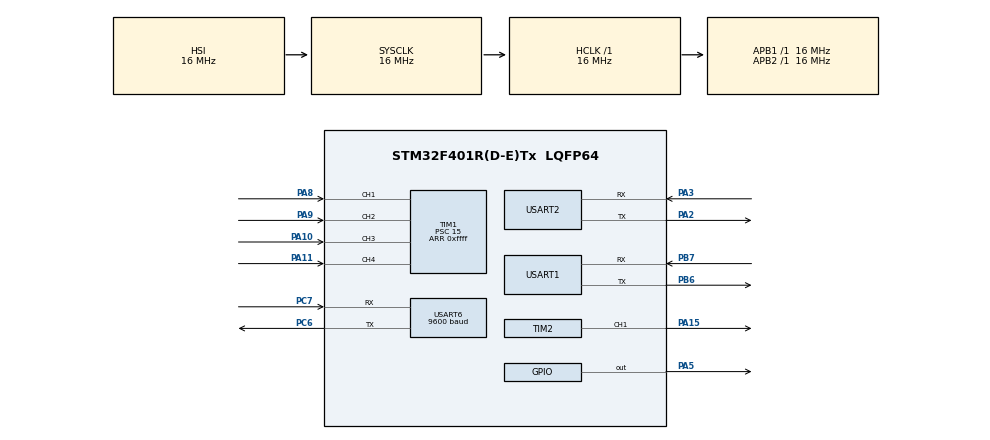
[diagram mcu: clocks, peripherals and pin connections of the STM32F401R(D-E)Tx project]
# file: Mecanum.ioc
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Dma.Request0=USART1_TX
Dma.Request1=USART1_RX
Dma.Request2=USART2_RX
Dma.Request3=USART2_TX
Dma.USART1_RX.1.Direction=DMA_PERIPH_TO_MEMORY
Dma.USART1_RX.1.FIFOMode=DMA_FIFOMODE_DISABLE
Dma.USART1_RX.1.Instance=DMA2_Stream2
Dma.USART1_RX.1.MemDataAlignment=DMA_MDATAALIGN_BYTE
Dma.USART1_RX.1.MemInc=DMA_MINC_ENABLE
Dma.USART1_RX.1.Mode=DMA_CIRCULAR
Dma.USART1_RX.1.PeriphDataAlignment=DMA_PDATAALIGN_BYTE
Dma.USART1_RX.1.PeriphInc=DMA_PINC_DISABLE
Dma.USART1_RX.1.Priority=DMA_PRIORITY_LOW
Dma.USART1_TX.0.Direction=DMA_MEMORY_TO_PERIPH
Dma.USART1_TX.0.FIFOMode=DMA_FIFOMODE_DISABLE
Dma.USART1_TX.0.Instance=DMA2_Stream7
Dma.USART1_TX.0.MemDataAlignment=DMA_MDATAALIGN_BYTE
Dma.USART1_TX.0.MemInc=DMA_MINC_ENABLE
Dma.USART1_TX.0.Mode=DMA_NORMAL
Dma.USART1_TX.0.PeriphDataAlignment=DMA_PDATAALIGN_BYTE
Dma.USART1_TX.0.PeriphInc=DMA_PINC_DISABLE
Dma.USART1_TX.0.Priority=DMA_PRIORITY_LOW
Dma.USART2_RX.2.Direction=DMA_PERIPH_TO_MEMORY
Dma.USART2_RX.2.FIFOMode=DMA_FIFOMODE_DISABLE
Dma.USART2_RX.2.Instance=DMA1_Stream5
Dma.USART2_RX.2.MemDataAlignment=DMA_MDATAALIGN_BYTE
Dma.USART2_RX.2.MemInc=DMA_MINC_ENABLE
Dma.USART2_RX.2.Mode=DMA_CIRCULAR
Dma.USART2_RX.2.PeriphDataAlignment=DMA_PDATAALIGN_BYTE
Dma.USART2_RX.2.PeriphInc=DMA_PINC_DISABLE
Dma.USART2_RX.2.Priority=DMA_PRIORITY_LOW
Dma.USART2_TX.3.Direction=DMA_MEMORY_TO_PERIPH
Dma.USART2_TX.3.FIFOMode=DMA_FIFOMODE_DISABLE
Dma.USART2_TX.3.Instance=DMA1_Stream6
Dma.USART2_TX.3.MemDataAlignment=DMA_MDATAALIGN_BYTE
Dma.USART2_TX.3.MemInc=DMA_MINC_ENABLE
Dma.USART2_TX.3.Mode=DMA_NORMAL
Dma.USART2_TX.3.PeriphDataAlignment=DMA_PDATAALIGN_BYTE
Dma.USART2_TX.3.PeriphInc=DMA_PINC_DISABLE
Dma.USART2_TX.3.Priority=DMA_PRIORITY_LOW
FREERTOS.Tasks01=defaultTask,0,128,StartDefaultTask,Default,NULL
Mcu.Family=STM32F4
Mcu.Name=STM32F401R(D-E)Tx
Mcu.Package=LQFP64
NVIC.DMA1_Stream5_IRQn=true\:5\:0\:false\:false\:true\:true
NVIC.DMA1_Stream6_IRQn=true\:5\:0\:false\:false\:true\:true
NVIC.DMA2_Stream2_IRQn=true\:5\:0\:false\:false\:true\:true
NVIC.DMA2_Stream7_IRQn=true\:5\:0\:false\:false\:true\:true
NVIC.PriorityGroup=NVIC_PRIORITYGROUP_4
NVIC.TIM1_CC_IRQn=true\:6\:0\:true\:false\:true\:true
NVIC.TIM2_IRQn=true\:6\:0\:true\:false\:true\:true
NVIC.TIM5_IRQn=true\:0\:0\:false\:false\:true\:false
NVIC.TimeBase=TIM5_IRQn
NVIC.TimeBaseIP=TIM5
NVIC.USART1_IRQn=true\:5\:0\:false\:false\:true\:true
NVIC.USART2_IRQn=true\:5\:0\:false\:false\:true\:true
NVIC.USART6_IRQn=true\:5\:0\:false\:false\:true\:true
PA10.Signal=S_TIM1_CH3
PA11.Signal=S_TIM1_CH4
PA15.Signal=S_TIM2_CH1_ETR
PA2.Mode=Asynchronous
PA2.Signal=USART2_TX
PA3.Mode=Asynchronous
PA3.Signal=USART2_RX
PA5.Signal=GPIO_Output
PA8.Signal=S_TIM1_CH1
PA9.Signal=S_TIM1_CH2
PB6.Mode=Asynchronous
PB6.Signal=USART1_TX
PB7.Mode=Asynchronous
PB7.Signal=USART1_RX
PC6.Mode=Asynchronous
PC6.Signal=USART6_TX
PC7.Mode=Asynchronous
PC7.Signal=USART6_RX
ProjectManager.HeapSize=0x200
ProjectManager.StackSize=0x400
ProjectManager.TargetToolchain=MDK-ARM V5
RCC.AHBFreq_Value=16000000
RCC.APB1Freq_Value=16000000
RCC.APB2Freq_Value=16000000
RCC.CortexFreq_Value=16000000
RCC.HSE_VALUE=25000000
RCC.HSI_VALUE=16000000
RCC.LSE_VALUE=32768
RCC.SYSCLKFreq_VALUE=16000000
RCC.VCOOutputFreq_Value=192000000
SH.S_TIM1_CH1.0=TIM1_CH1,Input_Capture1_from_TI1
SH.S_TIM1_CH2.0=TIM1_CH2,Input_Capture2_from_TI2
SH.S_TIM1_CH3.0=TIM1_CH3,Input_Capture3_from_TI3
SH.S_TIM1_CH4.0=TIM1_CH4,Input_Capture4_from_TI4
SH.S_TIM2_CH1_ETR.0=TIM2_CH1,PWM Generation1 CH1
TIM1.Channel-Input_Capture1_from_TI1=TIM_CHANNEL_1
TIM1.Channel-Input_Capture2_from_TI2=TIM_CHANNEL_2
TIM1.Channel-Input_Capture3_from_TI3=TIM_CHANNEL_3
TIM1.Channel-Input_Capture4_from_TI4=TIM_CHANNEL_4
TIM1.ICPolarity_CH1=TIM_INPUTCHANNELPOLARITY_BOTHEDGE
TIM1.ICPolarity_CH2=TIM_INPUTCHANNELPOLARITY_BOTHEDGE
TIM1.ICPolarity_CH3=TIM_INPUTCHANNELPOLARITY_BOTHEDGE
TIM1.ICPolarity_CH4=TIM_INPUTCHANNELPOLARITY_BOTHEDGE
TIM1.Period=0xffff
TIM1.Prescaler=15
TIM2.Channel-PWM\ Generation1\ CH1=TIM_CHANNEL_1
TIM2.Channel-PWM\ Generation2\ No\ Output=TIM_CHANNEL_2
TIM2.OCFastMode_PWM-PWM\ Generation1\ CH1=TIM_OCFAST_ENABLE
TIM2.Period=99999
TIM2.Prescaler=15
TIM2.Pulse-PWM\ Generation1\ CH1=10
TIM2.Pulse-PWM\ Generation2\ No\ Output=12500
USART1.VirtualMode=VM_ASYNC
USART2.VirtualMode=VM_ASYNC
USART6.BaudRate=9600
USART6.VirtualMode=VM_ASYNC
VP_FREERTOS_VS_ENABLE.Mode=Enabled
VP_SYS_VS_tim5.Mode=TIM5
VP_TIM2_VS_no_output2.Mode=PWM Generation2 No Output
board=Mecanum

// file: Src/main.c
/**
  ******************************************************************************
  * File Name          : main.c
  * Description        : Main program body
  ******************************************************************************
  * This notice applies to any and all portions of this file
  * that are not between comment pairs USER CODE BEGIN and
  * USER CODE END. Other portions of this file, whether
  * inserted by the user or by software development tools
  * are owned by their respective copyright owners.
  *
  * Copyright (c) 2017 STMicroelectronics International N.V.
  * All rights reserved.
  *
  * Redistribution and use in source and binary forms, with or without
  * modification, are permitted, provided that the following conditions are met:
  *
  * 1. Redistribution of source code must retain the above copyright notice,
  *    this list of conditions and the following disclaimer.
  * 2. Redistributions in binary form must reproduce the above copyright notice,
  *    this list of conditions and the following disclaimer in the documentation
  *    and/or other materials provided with the distribution.
  * 3. Neither the name of STMicroelectronics nor the names of other
  *    contributors to this software may be used to endorse or promote products
  *    derived from this software without specific written permission.
  * 4. This software, including modifications and/or derivative works of this
  *    software, must execute solely and exclusively on microcontroller or
  *    microprocessor devices manufactured by or for STMicroelectronics.
  * 5. Redistribution and use of this software other than as permitted under
  *    this license is void and will automatically terminate your rights under
  *    this license.
  *
  * THIS SOFTWARE IS PROVIDED BY STMICROELECTRONICS AND CONTRIBUTORS "AS IS"
  * AND ANY EXPRESS, IMPLIED OR STATUTORY WARRANTIES, INCLUDING, BUT NOT
  * LIMITED TO, THE IMPLIED WARRANTIES OF MERCHANTABILITY, FITNESS FOR A
  * PARTICULAR PURPOSE AND NON-INFRINGEMENT OF THIRD PARTY INTELLECTUAL PROPERTY
  * RIGHTS ARE DISCLAIMED TO THE FULLEST EXTENT PERMITTED BY LAW. IN NO EVENT
  * SHALL STMICROELECTRONICS OR CONTRIBUTORS BE LIABLE FOR ANY DIRECT, INDIRECT,
  * INCIDENTAL, SPECIAL, EXEMPLARY, OR CONSEQUENTIAL DAMAGES (INCLUDING, BUT NOT
  * LIMITED TO, PROCUREMENT OF SUBSTITUTE GOODS OR SERVICES; LOSS OF USE, DATA,
  * OR PROFITS; OR BUSINESS INTERRUPTION) HOWEVER CAUSED AND ON ANY THEORY OF
  * LIABILITY, WHETHER IN CONTRACT, STRICT LIABILITY, OR TORT (INCLUDING
  * NEGLIGENCE OR OTHERWISE) ARISING IN ANY WAY OUT OF THE USE OF THIS SOFTWARE,
  * EVEN IF ADVISED OF THE POSSIBILITY OF SUCH DAMAGE.
  *
  ******************************************************************************
  */
#include "main.h"
#include "stm32f4xx_hal.h"
#include "cmsis_os.h"

/* USER CODE BEGIN Includes */
#include <float.h>
#include "UartPcCommReceiver.h"
#include "UartPcCommTransmitter.h"
#include "motor.h"
#include "Ultrasonic.h"
/* USER CODE END Includes */

TIM_HandleTypeDef htim1;
TIM_HandleTypeDef htim2;

UART_HandleTypeDef huart1;
UART_HandleTypeDef huart2;
UART_HandleTypeDef huart6;
DMA_HandleTypeDef hdma_usart1_tx;
DMA_HandleTypeDef hdma_usart1_rx;
DMA_HandleTypeDef hdma_usart2_rx;
DMA_HandleTypeDef hdma_usart2_tx;

osThreadId defaultTaskHandle;

/* USER CODE BEGIN PV */
osThreadId motorControlHandle;
osThreadId UltrasonicTaskHandle;
osThreadId pcCommRxTaskHandle;
osThreadId pcCommTxTaskHandle;

SemaphoreHandle_t Ultrasonic_ISR_BS;

QueueHandle_t motorQueue;
QueueHandle_t Ultrasonic_Queue[4];
QueueHandle_t UltrasonicToPC;

BaseType_t Ultrasonic_HPTW_Q1 = pdFALSE, Ultrasonic_HPTW_Q2 = pdFALSE;

uint16_t Ultrasonic_flags = 0;
uint8_t Battery_flags = 0;

/* USER CODE END PV */

void SystemClock_Config(void);
static void MX_GPIO_Init(void);
static void MX_DMA_Init(void);
static void MX_USART1_UART_Init(void);
static void MX_USART2_UART_Init(void);
static void MX_USART6_UART_Init(void);
static void MX_TIM1_Init(void);
static void MX_TIM2_Init(void);
void StartDefaultTask(void const * argument);

void HAL_TIM_MspPostInit(TIM_HandleTypeDef *htim);

/* USER CODE BEGIN PFP */
void StartMotorControl(void const * argument);
void UltrasonicTaskFunction(void const * argument);

/* USER CODE END PFP */

int main(void)
{

  /* MCU Configuration----------------------------------------------------------*/

  /* Reset of all peripherals, Initializes the Flash interface and the Systick. */
  HAL_Init();

  /* Configure the system clock */
  SystemClock_Config();

  /* Initialize all configured peripherals */
  MX_GPIO_Init();
  MX_DMA_Init();
  MX_USART1_UART_Init();
  MX_USART2_UART_Init();
  MX_USART6_UART_Init();
  MX_TIM1_Init();
  MX_TIM2_Init();

  /* USER CODE BEGIN RTOS_SEMAPHORES */
  Ultrasonic_ISR_BS = xSemaphoreCreateBinary();
  if(!Ultrasonic_ISR_BS)
      Error_Handler();
  /* USER CODE END RTOS_SEMAPHORES */

  /* Create the thread(s) */
  /* definition and creation of defaultTask */
  osThreadDef(defaultTask, StartDefaultTask, osPriorityNormal, 0, 128);
  defaultTaskHandle = osThreadCreate(osThread(defaultTask), NULL);

  /* USER CODE BEGIN RTOS_THREADS */
  osThreadDef(pcCommRx, UartPcCommReceiverFunc, osPriorityNormal, 0, 128);
  pcCommRxTaskHandle = osThreadCreate(osThread(pcCommRx), NULL);

  osThreadDef(pcCommTx, UartPcCommTransmitterFunc, osPriorityNormal, 0, 2048);
  pcCommTxTaskHandle = osThreadCreate(osThread(pcCommTx), NULL);

  osThreadDef(motorControl, StartMotorControl, osPriorityNormal, 0, 128);
  motorControlHandle = osThreadCreate(osThread(motorControl), NULL);

  osThreadDef(UltrasonicTask, UltrasonicTaskFunction, osPriorityNormal, 0, 128);
  UltrasonicTaskHandle = osThreadCreate(osThread(UltrasonicTask), NULL);

  /* USER CODE END RTOS_THREADS */

  /* USER CODE BEGIN RTOS_QUEUES */
  motorQueue = xQueueCreate( 1, sizeof( FullMotorPackage ) );

  Ultrasonic_Queue[0] = xQueueCreate(2, sizeof( uint32_t ) );
  Ultrasonic_Queue[1] = xQueueCreate(2, sizeof( uint32_t ) );
  Ultrasonic_Queue[2] = xQueueCreate(2, sizeof( uint32_t ) );
  Ultrasonic_Queue[3] = xQueueCreate(2, sizeof( uint32_t ) );
  UltrasonicToPC = xQueueCreate(2, sizeof( struct Ultrasonic_Distances ) );
  /* USER CODE END RTOS_QUEUES */

  /* Start scheduler */
  osKernelStart();

  /* We should never get here as control is now taken by the scheduler */

  /* Infinite loop */
  while (1)
  {

  }

}

/** System Clock Configuration
*/
void SystemClock_Config(void)
{

  RCC_OscInitTypeDef RCC_OscInitStruct;
  RCC_ClkInitTypeDef RCC_ClkInitStruct;

    /**Configure the main internal regulator output voltage
    */
  __HAL_RCC_PWR_CLK_ENABLE();

  __HAL_PWR_VOLTAGESCALING_CONFIG(PWR_REGULATOR_VOLTAGE_SCALE2);

    /**Initializes the CPU, AHB and APB busses clocks
    */
  RCC_OscInitStruct.OscillatorType = RCC_OSCILLATORTYPE_HSI;
  RCC_OscInitStruct.HSIState = RCC_HSI_ON;
  RCC_OscInitStruct.HSICalibrationValue = 16;
  RCC_OscInitStruct.PLL.PLLState = RCC_PLL_NONE;
  if (HAL_RCC_OscConfig(&RCC_OscInitStruct) != HAL_OK)
  {
    _Error_Handler(__FILE__, __LINE__);
  }

    /**Initializes the CPU, AHB and APB busses clocks
    */
  RCC_ClkInitStruct.ClockType = RCC_CLOCKTYPE_HCLK|RCC_CLOCKTYPE_SYSCLK
                              |RCC_CLOCKTYPE_PCLK1|RCC_CLOCKTYPE_PCLK2;
  RCC_ClkInitStruct.SYSCLKSource = RCC_SYSCLKSOURCE_HSI;
  RCC_ClkInitStruct.AHBCLKDivider = RCC_SYSCLK_DIV1;
  RCC_ClkInitStruct.APB1CLKDivider = RCC_HCLK_DIV1;
  RCC_ClkInitStruct.APB2CLKDivider = RCC_HCLK_DIV1;

  if (HAL_RCC_ClockConfig(&RCC_ClkInitStruct, FLASH_LATENCY_0) != HAL_OK)
  {
    _Error_Handler(__FILE__, __LINE__);
  }

    /**Configure the Systick interrupt time
    */
  HAL_SYSTICK_Config(HAL_RCC_GetHCLKFreq()/1000);

    /**Configure the Systick
    */
  HAL_SYSTICK_CLKSourceConfig(SYSTICK_CLKSOURCE_HCLK);

  /* SysTick_IRQn interrupt configuration */
  HAL_NVIC_SetPriority(SysTick_IRQn, 15, 0);
}

/* TIM1 init function */
static void MX_TIM1_Init(void)
{

  TIM_MasterConfigTypeDef sMasterConfig;
  TIM_IC_InitTypeDef sConfigIC;

  htim1.Instance = TIM1;
  htim1.Init.Prescaler = 15;
  htim1.Init.CounterMode = TIM_COUNTERMODE_UP;
  htim1.Init.Period = 0xffff;
  htim1.Init.ClockDivision = TIM_CLOCKDIVISION_DIV1;
  htim1.Init.RepetitionCounter = 0;
  if (HAL_TIM_IC_Init(&htim1) != HAL_OK)
  {
    _Error_Handler(__FILE__, __LINE__);
  }

  sMasterConfig.MasterOutputTrigger = TIM_TRGO_RESET;
  sMasterConfig.MasterSlaveMode = TIM_MASTERSLAVEMODE_DISABLE;
  if (HAL_TIMEx_MasterConfigSynchronization(&htim1, &sMasterConfig) != HAL_OK)
  {
    _Error_Handler(__FILE__, __LINE__);
  }

  sConfigIC.ICPolarity = TIM_INPUTCHANNELPOLARITY_BOTHEDGE;
  sConfigIC.ICSelection = TIM_ICSELECTION_DIRECTTI;
  sConfigIC.ICPrescaler = TIM_ICPSC_DIV1;
  sConfigIC.ICFilter = 0;
  if (HAL_TIM_IC_ConfigChannel(&htim1, &sConfigIC, TIM_CHANNEL_1) != HAL_OK)
  {
    _Error_Handler(__FILE__, __LINE__);
  }

  if (HAL_TIM_IC_ConfigChannel(&htim1, &sConfigIC, TIM_CHANNEL_2) != HAL_OK)
  {
    _Error_Handler(__FILE__, __LINE__);
  }

  if (HAL_TIM_IC_ConfigChannel(&htim1, &sConfigIC, TIM_CHANNEL_3) != HAL_OK)
  {
    _Error_Handler(__FILE__, __LINE__);
  }

  if (HAL_TIM_IC_ConfigChannel(&htim1, &sConfigIC, TIM_CHANNEL_4) != HAL_OK)
  {
    _Error_Handler(__FILE__, __LINE__);
  }

}

/* TIM2 init function */
static void MX_TIM2_Init(void)
{

  TIM_MasterConfigTypeDef sMasterConfig;
  TIM_OC_InitTypeDef sConfigOC;

  htim2.Instance = TIM2;
  htim2.Init.Prescaler = 15;
  htim2.Init.CounterMode = TIM_COUNTERMODE_UP;
  htim2.Init.Period = 99999;
  htim2.Init.ClockDivision = TIM_CLOCKDIVISION_DIV1;
  if (HAL_TIM_PWM_Init(&htim2) != HAL_OK)
  {
    _Error_Handler(__FILE__, __LINE__);
  }

  sMasterConfig.MasterOutputTrigger = TIM_TRGO_RESET;
  sMasterConfig.MasterSlaveMode = TIM_MASTERSLAVEMODE_DISABLE;
  if (HAL_TIMEx_MasterConfigSynchronization(&htim2, &sMasterConfig) != HAL_OK)
  {
    _Error_Handler(__FILE__, __LINE__);
  }

  sConfigOC.OCMode = TIM_OCMODE_PWM1;
  sConfigOC.Pulse = 10;
  sConfigOC.OCPolarity = TIM_OCPOLARITY_HIGH;
  sConfigOC.OCFastMode = TIM_OCFAST_ENABLE;
  if (HAL_TIM_PWM_ConfigChannel(&htim2, &sConfigOC, TIM_CHANNEL_1) != HAL_OK)
  {
    _Error_Handler(__FILE__, __LINE__);
  }

  sConfigOC.Pulse = 12500;
  sConfigOC.OCFastMode = TIM_OCFAST_DISABLE;
  if (HAL_TIM_PWM_ConfigChannel(&htim2, &sConfigOC, TIM_CHANNEL_2) != HAL_OK)
  {
    _Error_Handler(__FILE__, __LINE__);
  }

  HAL_TIM_MspPostInit(&htim2);

}

/* USART1 init function */
static void MX_USART1_UART_Init(void)
{

  huart1.Instance = USART1;
  huart1.Init.BaudRate = 115200;
  huart1.Init.WordLength = UART_WORDLENGTH_8B;
  huart1.Init.StopBits = UART_STOPBITS_1;
  huart1.Init.Parity = UART_PARITY_NONE;
  huart1.Init.Mode = UART_MODE_TX_RX;
  huart1.Init.HwFlowCtl = UART_HWCONTROL_NONE;
  huart1.Init.OverSampling = UART_OVERSAMPLING_16;
  if (HAL_UART_Init(&huart1) != HAL_OK)
  {
    _Error_Handler(__FILE__, __LINE__);
  }

}

/* USART2 init function */
static void MX_USART2_UART_Init(void)
{

  huart2.Instance = USART2;
  huart2.Init.BaudRate = 115200;
  huart2.Init.WordLength = UART_WORDLENGTH_8B;
  huart2.Init.StopBits = UART_STOPBITS_1;
  huart2.Init.Parity = UART_PARITY_NONE;
  huart2.Init.Mode = UART_MODE_TX_RX;
  huart2.Init.HwFlowCtl = UART_HWCONTROL_NONE;
  huart2.Init.OverSampling = UART_OVERSAMPLING_16;
  if (HAL_UART_Init(&huart2) != HAL_OK)
  {
    _Error_Handler(__FILE__, __LINE__);
  }

}

/* USART6 init function */
static void MX_USART6_UART_Init(void)
{

  huart6.Instance = USART6;
  huart6.Init.BaudRate = 9600;
  huart6.Init.WordLength = UART_WORDLENGTH_8B;
  huart6.Init.StopBits = UART_STOPBITS_1;
  huart6.Init.Parity = UART_PARITY_NONE;
  huart6.Init.Mode = UART_MODE_TX_RX;
  huart6.Init.HwFlowCtl = UART_HWCONTROL_NONE;
  huart6.Init.OverSampling = UART_OVERSAMPLING_16;
  if (HAL_UART_Init(&huart6) != HAL_OK)
  {
    _Error_Handler(__FILE__, __LINE__);
  }

}

static void MX_DMA_Init(void)
{
  /* DMA controller clock enable */
  __HAL_RCC_DMA2_CLK_ENABLE();
  __HAL_RCC_DMA1_CLK_ENABLE();

  /* DMA interrupt init */
  /* DMA1_Stream5_IRQn interrupt configuration */
  HAL_NVIC_SetPriority(DMA1_Stream5_IRQn, 5, 0);
  HAL_NVIC_EnableIRQ(DMA1_Stream5_IRQn);
  /* DMA1_Stream6_IRQn interrupt configuration */
  HAL_NVIC_SetPriority(DMA1_Stream6_IRQn, 5, 0);
  HAL_NVIC_EnableIRQ(DMA1_Stream6_IRQn);
  /* DMA2_Stream2_IRQn interrupt configuration */
  HAL_NVIC_SetPriority(DMA2_Stream2_IRQn, 5, 0);
  HAL_NVIC_EnableIRQ(DMA2_Stream2_IRQn);
  /* DMA2_Stream7_IRQn interrupt configuration */
  HAL_NVIC_SetPriority(DMA2_Stream7_IRQn, 5, 0);
  HAL_NVIC_EnableIRQ(DMA2_Stream7_IRQn);

}

/** Configure pins as
        * Analog
        * Input
        * Output
        * EVENT_OUT
        * EXTI
*/
static void MX_GPIO_Init(void)
{

  GPIO_InitTypeDef GPIO_InitStruct;

  /* GPIO Ports Clock Enable */
  __HAL_RCC_GPIOA_CLK_ENABLE();
  __HAL_RCC_GPIOC_CLK_ENABLE();
  __HAL_RCC_GPIOB_CLK_ENABLE();

  /*Configure GPIO pin Output Level */
  HAL_GPIO_WritePin(GPIOA, GPIO_PIN_5, GPIO_PIN_RESET);

  /*Configure GPIO pin : PA5 */
  GPIO_InitStruct.Pin = GPIO_PIN_5;
  GPIO_InitStruct.Mode = GPIO_MODE_OUTPUT_PP;
  GPIO_InitStruct.Pull = GPIO_NOPULL;
  GPIO_InitStruct.Speed = GPIO_SPEED_FREQ_LOW;
  HAL_GPIO_Init(GPIOA, &GPIO_InitStruct);

}

/* USER CODE BEGIN 4 */
void StartMotorControl(void const * argument)
{
  uint8_t buffer[sizeof( FullMotorPackage )];
  FullMotorPackage *fullMotorPackage;
  for(;;)
  {
    xQueueReceive( motorQueue, &( buffer ), portMAX_DELAY );
	fullMotorPackage = (FullMotorPackage*)buffer;
	MoveMotor(FrontLeft, fullMotorPackage->FrontLeft);
	MoveMotor(FrontRight, fullMotorPackage->FrontRight);
    MoveMotor(BackLeft, fullMotorPackage->BackLeft);
	MoveMotor(BackRight, fullMotorPackage->BackRight);
  }
}

void UltrasonicTaskFunction(void const * argument){
	extern uint16_t US_time_acq [4][2];							//For every sensor we get two values, rising edge and falling
	extern float US_distance [4],US_min_dist;				//Array to hold distances in mm and minimum distance
	struct Ultrasonic_Distances US_RxStruct;	//Struct to be sent to the PC, with distances
	uint32_t channel;													//For timer channel selection
	HAL_TIM_IC_Init(&htim1);									//Activates timer 1, to begin acquiring sensor data
	HAL_TIM_PWM_Init(&htim2);									//Activates timer 2, to begin generating pulses
	HAL_TIM_IC_Start_IT(&htim1,TIM_CHANNEL_1);	//Starts interruptions for input capture
	HAL_TIM_IC_Start_IT(&htim1,TIM_CHANNEL_2);	//Starts interruptions for input capture
	HAL_TIM_IC_Start_IT(&htim1,TIM_CHANNEL_3);	//Starts interruptions for input capture
	HAL_TIM_IC_Start_IT(&htim1,TIM_CHANNEL_4);	//Starts interruptions for input capture
	HAL_TIM_PWM_Start_IT(&htim2,TIM_CHANNEL_1);	//Starts generating triggers (10Hz)
	while(1){
		//MX_TIM1_Init();													//Sets timer and all channel input captures to rising edge
		if(xSemaphoreTake(Ultrasonic_ISR_BS,portMAX_DELAY) == pdTRUE){
			osDelay(60);														//Delay of 60ms for making sure signals are received (triggers at 10Hz)
			for (uint8_t i=0; i<4 ; i++){
				channel = i << 2;											//Selects the right timer channel
				if(xQueueReceive(Ultrasonic_Queue[i],&US_time_acq[i][0],0) == pdTRUE){			//Polls queues of rising edge
					if(xQueueReceive(Ultrasonic_Queue[i],&US_time_acq[i][1],0) == pdTRUE){		//Polls queues of falling edge
						Ultrasonic_flags |= (ULTRASONIC_CAPTURE_1 << i);				//Only if both edges are acquired, we set the capture flag
					}
				}
			}																															//After all data acquire, begin treatment
			Ultrasonic_DistCalculations();
			US_RxStruct.Front = US_distance[0];			//Assigns the distance to the right fields of the Struct to be sent to PC
			US_RxStruct.Left = US_distance[1];			//We begin in the front and proceed counter-clockwise
			US_RxStruct.Back = US_distance[2];
			US_RxStruct.Right = US_distance[3];
			if(xQueueSend(UltrasonicToPC,&US_RxStruct,0) != pdTRUE)
				Ultrasonic_flags |= ULTRASONIC_FAILSEND;
			else
				Ultrasonic_flags &= ~ULTRASONIC_FAILSEND;
			Ultrasonic_flags &= ~(ULTRASONIC_CAPTURE_1 | ULTRASONIC_CAPTURE_2 | ULTRASONIC_CAPTURE_3 | ULTRASONIC_CAPTURE_4);
			Ultrasonic_CheckConditions();
		}
	}
}

void HAL_TIM_OC_DelayElapsedCallback(TIM_HandleTypeDef *htim){
	if(htim == &htim2){
		uint32_t trash_buff;
		for(int i = 0; i<4; i++){														//Resets all queues, to indicate acquiring beginning
			while (xQueueIsQueueEmptyFromISR(Ultrasonic_Queue[i]) != pdTRUE){
				xQueueReceiveFromISR(Ultrasonic_Queue[i],&trash_buff,NULL);		//Receives items until queue is empty
			}
		xSemaphoreGiveFromISR(Ultrasonic_ISR_BS,NULL);			//Gives binary semaphore to start treatment by task function
		}
	}
}

void HAL_TIM_IC_CaptureCallback(TIM_HandleTypeDef *htim){
	// - For TIMER 1 - //
	if(htim == &htim1){
		uint32_t time_aux;
		uint8_t i = 0;
		switch(htim->Channel){								//Selects channel and CC register where to get data from
			case HAL_TIM_ACTIVE_CHANNEL_1:
				i = 0;
				time_aux = htim->Instance->CCR1;
				break;
			case HAL_TIM_ACTIVE_CHANNEL_2:
				i = 1;
				time_aux = htim->Instance->CCR2;
				break;
			case HAL_TIM_ACTIVE_CHANNEL_3:
				i = 2;
				time_aux = htim->Instance->CCR3;
				break;
			case HAL_TIM_ACTIVE_CHANNEL_4:
				i = 3;
				time_aux = htim->Instance->CCR4;
				break;
			default:
				break;
		}
		if(i > 3)																		//If i is out of range, then
			i=0;																			//Just put i = 0
		xQueueSendFromISR(Ultrasonic_Queue[i],&time_aux,NULL);		//Sends items to queue, doesn't matter the order
	}
}

/* USER CODE END 4 */

/* StartDefaultTask function */
void StartDefaultTask(void const * argument)
{

  for(;;)
  {
    osDelay(1);
  }
}

void HAL_TIM_PeriodElapsedCallback(TIM_HandleTypeDef *htim)
{
  if (htim->Instance == TIM5) {
    HAL_IncTick();
  }
}

void _Error_Handler(char * file, int line)
{
  while(1)
  {
  }
}

/************************ (C) COPYRIGHT STMicroelectronics *****END OF FILE****/
